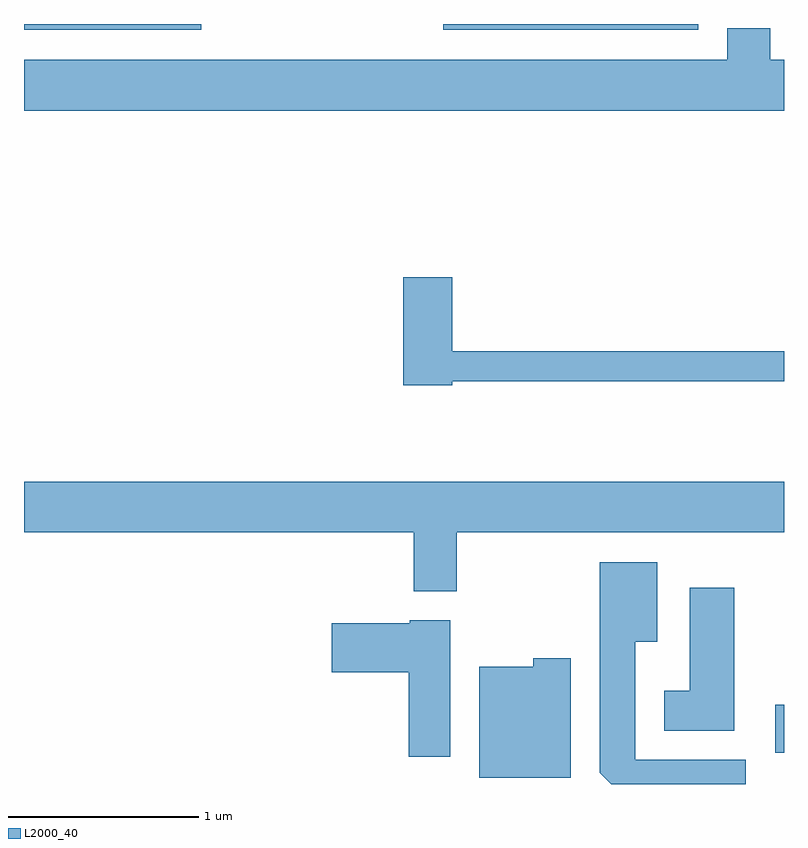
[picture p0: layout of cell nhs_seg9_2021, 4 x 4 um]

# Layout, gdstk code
import gdstk
lib = gdstk.Library(unit=1e-6, precision=1e-09)
def R(c, l, rs):  # rectangles x0, y0, x1, y1
    for r in rs: c.add(gdstk.rectangle(r[:2], r[2:], *l))
def P(c, l, *ps):  # polygons
    for p in ps: c.add(gdstk.Polygon(p, *l))
L2000_40 = (2000, 40)

nhs_seg9_2021 = lib.new_cell('nhs_seg9_2021')
R(nhs_seg9_2021, L2000_40, [(247.566,2050.596,247.611,2050.849), (243.611,2054.401,244.543,2054.432), (245.818,2054.401,247.159,2054.432)])
P(nhs_seg9_2021, L2000_40, [(247.611,2054.244),(247.539,2054.244),(247.539,2054.409),(247.311,2054.409),(247.311,2054.244),(243.611,2054.244),(243.611,2053.976),(247.611,2053.976)],
  [(245.864,2052.551),(247.611,2052.551),(247.611,2052.709),(245.864,2052.709),(245.864,2053.099),(245.606,2053.099),(245.606,2052.531),(245.864,2052.531)],
  [(245.889,2051.756),(247.611,2051.756),(247.611,2052.024),(243.611,2052.024),(243.611,2051.756),(245.661,2051.756),(245.661,2051.446),(245.889,2051.446)],
  [(247.409,2050.559),(246.829,2050.559),(246.829,2051.181),(246.944,2051.181),(246.944,2051.599),(246.641,2051.599),(246.641,2050.492),(246.701,2050.432),(247.409,2050.432)],
  [(247.349,2051.464),(247.116,2051.464),(247.116,2050.924),(246.981,2050.924),(246.981,2050.711),(247.349,2050.711)],
  [(245.854,2051.294),(245.64,2051.294),(245.64,2051.279),(245.231,2051.279),(245.231,2051.021),(245.636,2051.021),(245.636,2050.576),(245.854,2050.576)],
  [(246.489,2051.094),(246.291,2051.094),(246.291,2051.049),(246.006,2051.049),(246.006,2050.466),(246.489,2050.466)])

lib.write_gds('nhs_seg9_2021.gds')
